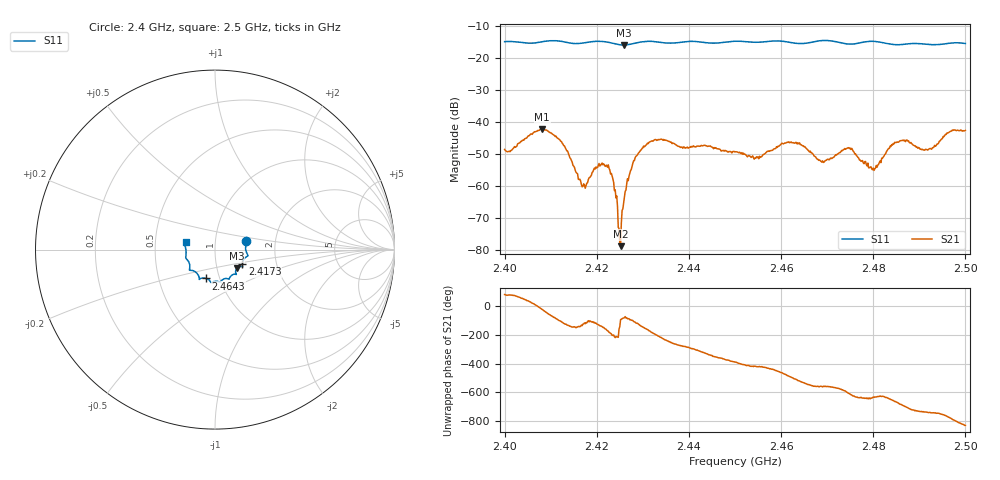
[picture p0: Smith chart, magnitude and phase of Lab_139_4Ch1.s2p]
# Hz S RI R 50
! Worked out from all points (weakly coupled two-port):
!   601 points, 2.4 GHz to 2.5 GHz, reference 50 ohm
!   highest |S21| = -42.15 dB at 2.4082 GHz (marker M1); lowest = -78.8 dB at 2.4252 GHz (marker M2)
!   lowest |S11| = -15.9 dB at 2.4258 GHz (marker M3), VSWR 1.38, Z = 62.3 - j13.3 ohm
!   |S11| at or under -10 dB: start of sweep to end of sweep
!   S12 and S22 are empty: the file has one direction only
!   S11 on the Smith chart (normalised r, x): 2.4 GHz: 1.41, +0.14; 2.4173 GHz: 1.34, -0.23; 2.4643 GHz: 0.86, -0.28; 2.5 GHz: 0.72, +0.06
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2.4e9  0.1734 0.0492  0.000434 0.00369  0 0  0 0
2.408167e9  0.1785 -0.022  0.00727 -0.00284  0 0  0 0
2.4125e9  0.1771 -0.0384  -0.00169 -0.00436  0 0  0 0
2.416667e9  0.1531 -0.0744  -0.000685 -0.000792  0 0  0 0
2.417333e9  0.1523 -0.0819  -0.000445 -0.000919  0 0  0 0
2.42e9  0.1546 -0.0975  -0.00103 -0.00161  0 0  0 0
2.422333e9  0.1497 -0.0944  -0.00193 -0.000324  0 0  0 0
2.423833e9  0.1381 -0.0945  -0.000716 0.00045  0 0  0 0
2.424667e9  0.1307 -0.0963  -0.000181 0.000134  0 0  0 0
2.425167e9  0.1264 -0.0989  -5.69e-06 -0.000114  0 0  0 0
2.425833e9  0.1217 -0.1037  8.44e-05 -0.000541  0 0  0 0
2.428333e9  0.1151 -0.1264  -0.000974 -0.0026  0 0  0 0
2.433333e9  0.1128 -0.1369  -0.00471 0.00249  0 0  0 0
2.45e9  0.0292 -0.1806  0.00294 -0.0017  0 0  0 0
2.464333e9  -0.0498 -0.1606  -0.00432 -0.000956  0 0  0 0
2.466667e9  -0.0758 -0.1595  -0.00318 0.000886  0 0  0 0
2.469167e9  -0.0876 -0.1664  -0.0022 0.000757  0 0  0 0
2.474833e9  -0.1046 -0.1279  -0.00123 0.00364  0 0  0 0
2.48e9  -0.1429 -0.1133  0.000154 0.0019  0 0  0 0
2.483333e9  -0.1404 -0.0897  0.000935 0.00373  0 0  0 0
2.492167e9  -0.161 -0.0238  0.00351 -0.00143  0 0  0 0
2.5e9  -0.1634 0.0419  -0.00296 -0.00675  0 0  0 0
